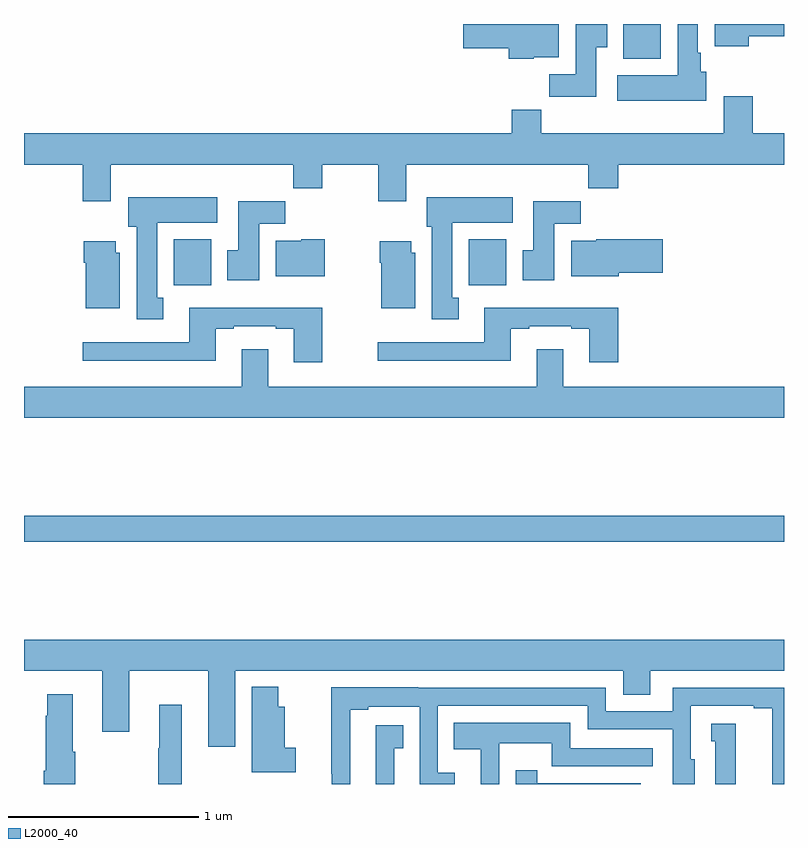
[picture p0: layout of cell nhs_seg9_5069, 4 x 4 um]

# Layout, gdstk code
import gdstk
lib = gdstk.Library(unit=1e-6, precision=1e-09)
def R(c, l, rs):  # rectangles x0, y0, x1, y1
    for r in rs: c.add(gdstk.rectangle(r[:2], r[2:], *l))
def P(c, l, *ps):  # polygons
    for p in ps: c.add(gdstk.Polygon(p, *l))
L2000_40 = (2000, 40)

nhs_seg9_5069 = lib.new_cell('nhs_seg9_5069')
R(nhs_seg9_5069, L2000_40, [(405,1187.776,409,1187.912), (405.788,1189.124,405.985,1189.366), (407.342,1189.124,407.539,1189.366), (408.155,1190.318,408.352,1190.5)])
P(nhs_seg9_5069, L2000_40, [(407.682,1190.324),(407.815,1190.324),(407.815,1190.5),(407.312,1190.5),(407.312,1190.372),(407.552,1190.372),(407.552,1190.318),(407.682,1190.318)],
  [(408.592,1190.25),(408.562,1190.25),(408.562,1190.35),(408.547,1190.35),(408.547,1190.5),(408.44,1190.5),(408.44,1190.23),(408.123,1190.23),(408.123,1190.096),(408.592,1190.096)],
  [(408.814,1190.435),(409,1190.435),(409,1190.5),(408.635,1190.5),(408.635,1190.384),(408.814,1190.384)],
  [(408.013,1190.377),(408.07,1190.377),(408.07,1190.5),(407.903,1190.5),(407.903,1190.236),(407.764,1190.236),(407.764,1190.118),(408.013,1190.118)],
  [(405.457,1189.76),(406.417,1189.76),(406.417,1189.636),(406.569,1189.636),(406.569,1189.76),(406.864,1189.76),(406.864,1189.566),(407.011,1189.566),(407.011,1189.76),(407.971,1189.76),(407.971,1189.636),(408.128,1189.636),(408.128,1189.76),(409,1189.76),(409,1189.924),(408.836,1189.924),(408.836,1190.119),(408.683,1190.119),(408.683,1189.924),(407.723,1189.924),(407.723,1190.048),(407.567,1190.048),(407.567,1189.924),(405,1189.924),(405,1189.76),(405.31,1189.76),(405.31,1189.566),(405.457,1189.566)],
  [(405.733,1189.058),(405.7,1189.058),(405.7,1189.454),(406.018,1189.454),(406.018,1189.588),(405.548,1189.588),(405.548,1189.434),(405.593,1189.434),(405.593,1188.945),(405.733,1188.945)],
  [(407.287,1189.058),(407.254,1189.058),(407.254,1189.454),(407.572,1189.454),(407.572,1189.588),(407.12,1189.588),(407.12,1189.434),(407.147,1189.434),(407.147,1188.945),(407.287,1188.945)],
  [(406.237,1189.448),(406.376,1189.448),(406.376,1189.567),(406.127,1189.567),(406.127,1189.308),(406.07,1189.308),(406.07,1189.152),(406.237,1189.152)],
  [(407.791,1189.448),(407.93,1189.448),(407.93,1189.567),(407.681,1189.567),(407.681,1189.308),(407.624,1189.308),(407.624,1189.152),(407.791,1189.152)],
  [(406.584,1189.366),(406.458,1189.366),(406.458,1189.36),(406.325,1189.36),(406.325,1189.172),(406.584,1189.172)],
  [(408.13,1189.19),(408.361,1189.19),(408.361,1189.366),(408.012,1189.366),(408.012,1189.36),(407.879,1189.36),(407.879,1189.172),(408.13,1189.172)],
  [(405.505,1189.296),(405.484,1189.296),(405.484,1189.357),(405.314,1189.357),(405.314,1189.244),(405.326,1189.244),(405.326,1189.004),(405.505,1189.004)],
  [(407.059,1189.296),(407.038,1189.296),(407.038,1189.357),(406.873,1189.357),(406.873,1189.244),(406.88,1189.244),(406.88,1189.004),(407.059,1189.004)],
  [(406.569,1189.006),(405.869,1189.006),(405.869,1188.825),(405.309,1188.825),(405.309,1188.728),(406.009,1188.728),(406.009,1188.897),(406.105,1188.897),(406.105,1188.909),(406.325,1188.909),(406.325,1188.897),(406.421,1188.897),(406.421,1188.72),(406.569,1188.72)],
  [(408.128,1189.006),(407.423,1189.006),(407.423,1188.825),(406.863,1188.825),(406.863,1188.728),(407.563,1188.728),(407.563,1188.897),(407.659,1188.897),(407.659,1188.909),(407.879,1188.909),(407.879,1188.897),(407.975,1188.897),(407.975,1188.72),(408.128,1188.72)],
  [(409,1188.592),(407.839,1188.592),(407.839,1188.787),(407.699,1188.787),(407.699,1188.592),(406.285,1188.592),(406.285,1188.787),(406.145,1188.787),(406.145,1188.592),(405,1188.592),(405,1188.428),(409,1188.428)],
  [(406.111,1187.096),(408.155,1187.096),(408.155,1186.969),(408.295,1186.969),(408.295,1187.096),(409,1187.096),(409,1187.26),(405,1187.26),(405,1187.096),(405.413,1187.096),(405.413,1186.776),(405.553,1186.776),(405.553,1187.096),(405.971,1187.096),(405.971,1186.695),(406.111,1186.695)],
  [(406.429,1186.692),(406.372,1186.692),(406.372,1186.906),(406.339,1186.906),(406.339,1187.011),(406.199,1187.011),(406.199,1186.562),(406.429,1186.562)],
  [(406.717,1186.89),(406.813,1186.89),(406.813,1186.907),(407.082,1186.907),(407.082,1186.5),(407.266,1186.5),(407.266,1186.558),(407.178,1186.558),(407.178,1186.911),(407.967,1186.911),(407.967,1186.788),(408.414,1186.788),(408.414,1186.5),(408.529,1186.5),(408.529,1186.629),(408.51,1186.629),(408.51,1186.911),(408.842,1186.911),(408.842,1186.899),(408.938,1186.899),(408.938,1186.5),(409,1186.5),(409,1187.007),(408.414,1187.007),(408.414,1186.884),(408.063,1186.884),(408.063,1187.007),(407.075,1187.007),(407.075,1187.008),(406.618,1187.008),(406.618,1186.555),(406.62,1186.555),(406.62,1186.5),(406.717,1186.5)],
  [(405.27,1186.669),(405.256,1186.669),(405.256,1186.972),(405.122,1186.972),(405.122,1186.859),(405.115,1186.859),(405.115,1186.569),(405.104,1186.569),(405.104,1186.5),(405.27,1186.5)],
  [(405.829,1186.918),(405.713,1186.918),(405.713,1186.688),(405.706,1186.688),(405.706,1186.5),(405.829,1186.5)],
  [(407.502,1186.715),(407.778,1186.715),(407.778,1186.594),(407.881,1186.594),(407.881,1186.593),(408.31,1186.593),(408.31,1186.689),(407.874,1186.689),(407.874,1186.822),(407.263,1186.822),(407.263,1186.682),(407.405,1186.682),(407.405,1186.5),(407.502,1186.5)],
  [(408.745,1186.818),(408.617,1186.818),(408.617,1186.725),(408.638,1186.725),(408.638,1186.5),(408.745,1186.5)],
  [(406.948,1186.689),(406.997,1186.689),(406.997,1186.81),(406.85,1186.81),(406.85,1186.5),(406.948,1186.5)],
  [(408.247,1186.503),(407.7,1186.503),(407.7,1186.573),(407.587,1186.573),(407.587,1186.5),(408.247,1186.5)])

lib.write_gds('nhs_seg9_5069.gds')
